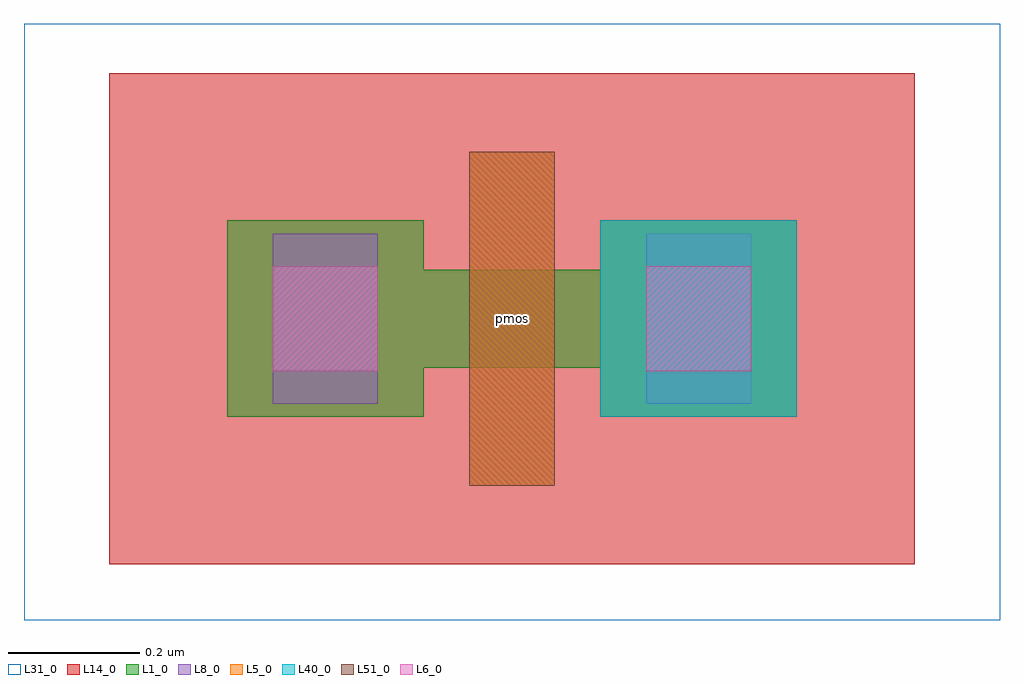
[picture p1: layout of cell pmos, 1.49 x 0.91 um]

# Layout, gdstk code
import gdstk
lib = gdstk.Library(unit=1e-6, precision=5e-09)
def R(c, l, rs):  # rectangles x0, y0, x1, y1
    for r in rs: c.add(gdstk.rectangle(r[:2], r[2:], *l))
L1_0 = (1, 0)
L5_0 = (5, 0)
L6_0 = (6, 0)
L8_0 = (8, 0)
L14_0 = (14, 0)
L31_0 = (31, 0)
L40_0 = (40, 0)
L51_0 = (51, 0)

pmos = lib.new_cell('pmos')
R(pmos, L1_0, [(0,0.01,0.3,0.31), (0.57,0.01,0.87,0.31), (0,0.085,0.87,0.235)])
R(pmos, L5_0, [(0.37,-0.095,0.5,0.415), (0.37,-0.095,0.5,0.415)])
R(pmos, L6_0, [(0.07,0.08,0.23,0.24), (0.64,0.08,0.8,0.24)])
R(pmos, L8_0, [(0.07,0.03,0.23,0.29), (0.07,0.03,0.23,0.29), (0.64,0.03,0.8,0.29), (0.64,0.03,0.8,0.29)])
R(pmos, L14_0, [(-0.18,-0.215,1.05,0.535)])
R(pmos, L31_0, [(-0.31,-0.3,1.18,0.61)])
R(pmos, L40_0, [(0.57,0.01,0.87,0.31)])
R(pmos, L51_0, [(0.37,-0.095,0.5,0.415)])
pmos.add(gdstk.Label('pmos', (0.435,0.16), layer=63, texttype=0))
pmos.add(gdstk.Label('pmos', (0.435,0.16), layer=51, texttype=0))

lib.write_gds('pmos.gds')
